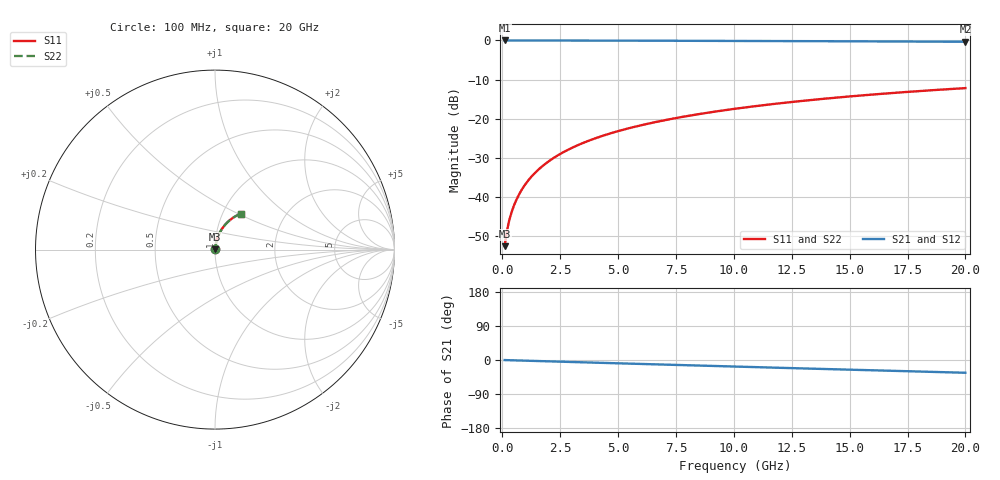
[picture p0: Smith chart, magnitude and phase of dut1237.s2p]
! Touchstone file exported from HFSS 2026.1.0
!  File:  C:/ffzhzh/LocalFiles/Ansys_Project_Files/temp_train_BSMRDL_1237_1783177091_22436.aedt
!  Generated:  10:59:25 PM Jul  4, 2026
!  Design:  BSMRDL
!  Project:  temp_train_BSMRDL_1237_1783177091_22436
! Variables:
!  h_bsmrdl = 4.36um
!  h_ox = 20um
!  h_rdl = 5um
!  h_sub = 80um
!  h_tmrdl = 5um
!  h_tsv = 80um
!  h_via = 3um
!  l_bsmrdl = 515.31um
!  l_sub = 915.31um
!  l_tmrdl = 200um
!  m_sub = 200um
!  pitch = 49.32um
!  r_tsv = 6um
!  s_tmrdl = 10um
!  w_bsmrdl = 29.19um
!  w_sub = 500um
!  w_tmrdl = 12um
!  x_tsv_center1 = 206um
!  x_tsv_center2 = 750.5um
!  x_tsv_center3 = 962.5um
!  x_tsv_center4 = 1507um
!  x_tsv_center5 = 1719um
!  x_tsv_center6 = 2263.5um
# GHz S MA R 50.000000
! Terminal data exported
! Port[1] = BSM_RDL1_1_T1
! Port[2] = BSM_RDL1_1_T2
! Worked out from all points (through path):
!   200 points, 100 MHz to 20 GHz, reference 50 ohm
!   highest |S21| = -0.01 dB at 100 MHz (marker M1); lowest = -0.3 dB at 20 GHz (marker M2)
!   group delay of S21, straight-line fit = 4.67 ps
!   lowest |S11| = -52.6 dB at 100 MHz (marker M3), VSWR 1.00, Z = 50.2 + j0.164 ohm
!   |S11| at or under -10 dB: start of sweep to end of sweep
!   |S22| runs from -52.6 to -12.2 dB; largest |S21 - S12| = 3.5e-15
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0.1  0.002346 44.1  0.9983 -0.2  0.9983 -0.2  0.002346 44.1
! Gamma 0 0 0 0
! Port Impedance 50 0 50 0
0.2  0.003664 59.6  0.9982 -0.4  0.9982 -0.4  0.003664 59.6
0.3  0.00502 66.2  0.998 -0.5  0.998 -0.5  0.00502 66.2
0.4  0.006365 70.1  0.9979 -0.7  0.9979 -0.7  0.006366 70.1
0.5  0.007711 72.8  0.9979 -0.9  0.9979 -0.9  0.007712 72.8
0.6  0.009065 74.8  0.9978 -1.1  0.9978 -1.1  0.009065 74.8
0.8  0.0118 77.3  0.9977 -1.4  0.9977 -1.4  0.0118 77.3
1.1  0.01594 79.4  0.9975 -2.0  0.9975 -2.0  0.01594 79.4
1.3  0.01872 80.1  0.9974 -2.3  0.9974 -2.3  0.01872 80.1
1.6  0.02289 80.7  0.9972 -2.8  0.9972 -2.8  0.02289 80.7
2.1  0.02984 81.0  0.9968 -3.7  0.9968 -3.7  0.02984 81.0
2.7  0.03814 80.7  0.9963 -4.8  0.9963 -4.8  0.03814 80.6
3.5  0.04909 79.8  0.9954 -6.2  0.9954 -6.2  0.04909 79.8
4.2  0.05856 78.9  0.9945 -7.4  0.9945 -7.4  0.05855 78.9
5  0.06924 77.7  0.9933 -8.8  0.9933 -8.8  0.06923 77.7
5.9  0.08109 76.4  0.992 -10.3  0.992 -10.3  0.08108 76.4
6.8  0.09277 75.0  0.9905 -11.8  0.9905 -11.8  0.09277 75.0
8.3  0.1119 72.7  0.9879 -14.4  0.9879 -14.4  0.1119 72.6
10.1  0.1343 69.8  0.9845 -17.4  0.9845 -17.4  0.1343 69.8
13.4  0.1739 64.7  0.9774 -22.9  0.9774 -22.9  0.1739 64.7
16.7  0.2111 59.5  0.9694 -28.4  0.9694 -28.4  0.2111 59.5
20  0.2457 54.3  0.9607 -33.7  0.9607 -33.7  0.2456 54.3
